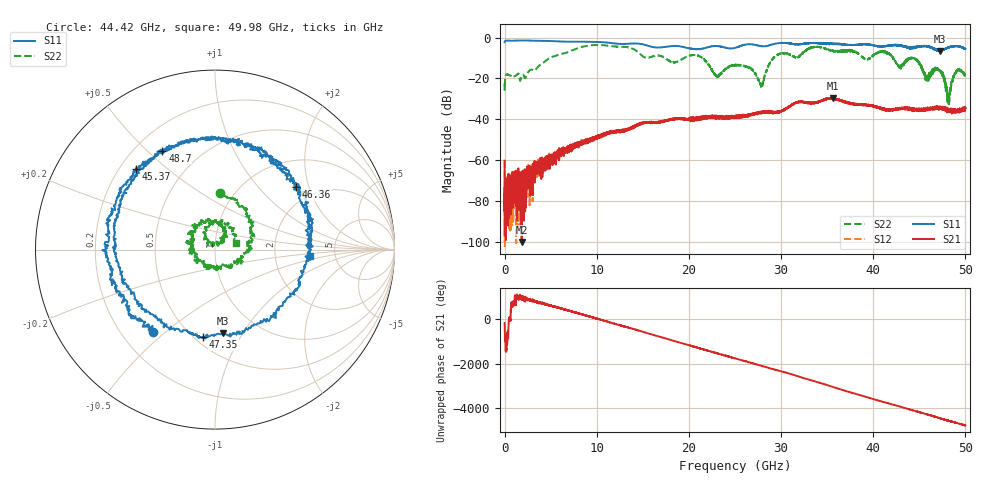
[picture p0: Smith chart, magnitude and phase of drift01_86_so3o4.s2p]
!Created with skrf (http://scikit-rf.org).
# Hz S RI R 50.0
!freq ReS11 ImS11 ReS21 ImS21 ReS12 ImS12 ReS22 ImS22
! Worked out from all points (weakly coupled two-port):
!   10001 points, 300 kHz to 50 GHz, reference 50 ohm
!   highest |S21| = -29.55 dB at 35.59 GHz (marker M1); lowest = -100.2 dB at 1.85 GHz (marker M2)
!   lowest |S11| = -6.6 dB at 47.26 GHz (marker M3), VSWR 2.75, Z = 34.8 - j41.3 ohm
!   |S11| at or under -10 dB: nowhere
!   |S22| runs from -32.6 to -3.6 dB; largest |S21 - S12| = 0.0037
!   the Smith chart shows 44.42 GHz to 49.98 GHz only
!   S11 on the Smith chart (normalised r, x): 44.42 GHz: 0.33, -0.46; 45.37 GHz: 0.27, +0.39; 46.36 GHz: 1.59, +1.65; 47.35 GHz: 0.55, -0.71; 48.7 GHz: 0.31, +0.56; 49.98 GHz: 3.21, -0.31
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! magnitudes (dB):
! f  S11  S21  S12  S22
! 300 kHz  -2.2  -60.3  -60.3  -22.4
! 255.3 MHz  -1.4  -71.8  -78.7  -18.0
! 1.85 GHz  -1.4  -100.2  -70.2  -18.9
! 8.335 GHz  -2.0  -51.5  -51.0  -4.5
! 16.67 GHz  -4.8  -41.4  -41.6  -8.7
! 20.97 GHz  -5.6  -40.1  -39.5  -8.8
! 23.08 GHz  -4.1  -38.6  -38.9  -18.9
! 25 GHz  -5.0  -38.9  -38.9  -13.5
! 27.86 GHz  -4.2  -36.6  -36.6  -22.9
! 29.44 GHz  -2.9  -36.3  -36.4  -8.9
! 33.34 GHz  -2.6  -32.0  -32.0  -4.8
! 35.59 GHz  -3.1  -29.5  -29.7  -6.4
! 41.67 GHz  -3.9  -35.3  -35.2  -8.0
! 44.42 GHz  -4.8  -35.1  -35.5  -10.0
! 45.37 GHz  -4.0  -35.2  -35.2  -15.9
! 46.36 GHz  -4.9  -34.9  -34.8  -15.8
! 47.26 GHz  -6.6  -34.7  -34.3  -16.0
! 47.35 GHz  -6.2  -34.9  -34.7  -17.4
! 48.16 GHz  -4.7  -35.3  -35.5  -29.7
! 48.7 GHz  -4.1  -35.3  -35.8  -19.3
! 49.98 GHz  -5.5  -34.8  -34.5  -18.1
! 50 GHz  -5.4  -34.6  -34.3  -18.4
